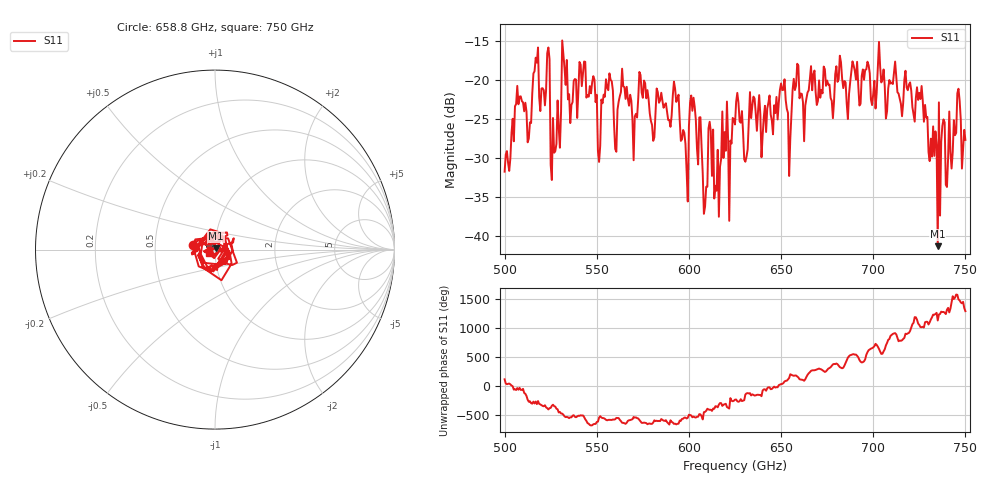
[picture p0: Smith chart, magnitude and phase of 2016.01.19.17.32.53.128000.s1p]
!Created with skrf (http://scikit-rf.org).
# GHz S RI R 50.0
!freq ReS11 ImS11
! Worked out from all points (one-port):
!   401 points, 500 GHz to 750 GHz, reference 50 ohm
!   lowest |S11| = -41.3 dB at 735 GHz (marker M1), VSWR 1.02, Z = 50.6 + j0.657 ohm
!   |S11| at or under -10 dB: start of sweep to end of sweep
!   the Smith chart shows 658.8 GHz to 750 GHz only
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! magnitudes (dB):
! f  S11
! 500 GHz  -31.8
! 507.5 GHz  -23.1
! 513.8 GHz  -25.5
! 516.9 GHz  -17.2
! 523.1 GHz  -16.6
! 526.2 GHz  -24.9
! 531.2 GHz  -15.0
! 542.5 GHz  -19.3
! 551.9 GHz  -28.5
! 556.2 GHz  -21.3
! 560.6 GHz  -29.2
! 562.5 GHz  -22.1
! 570.6 GHz  -24.7
! 593.8 GHz  -22.5
! 598.1 GHz  -28.2
! 602.5 GHz  -22.3
! 608.8 GHz  -36.2
! 611.9 GHz  -26.6
! 615 GHz  -34.2
! 625 GHz  -25.7
! 630.6 GHz  -30.5
! 634.4 GHz  -23.4
! 656.2 GHz  -21.3
! 687.5 GHz  -20.3
! 718.8 GHz  -21.3
! 735 GHz  -41.3
! 746.2 GHz  -21.2
! 750 GHz  -27.7
